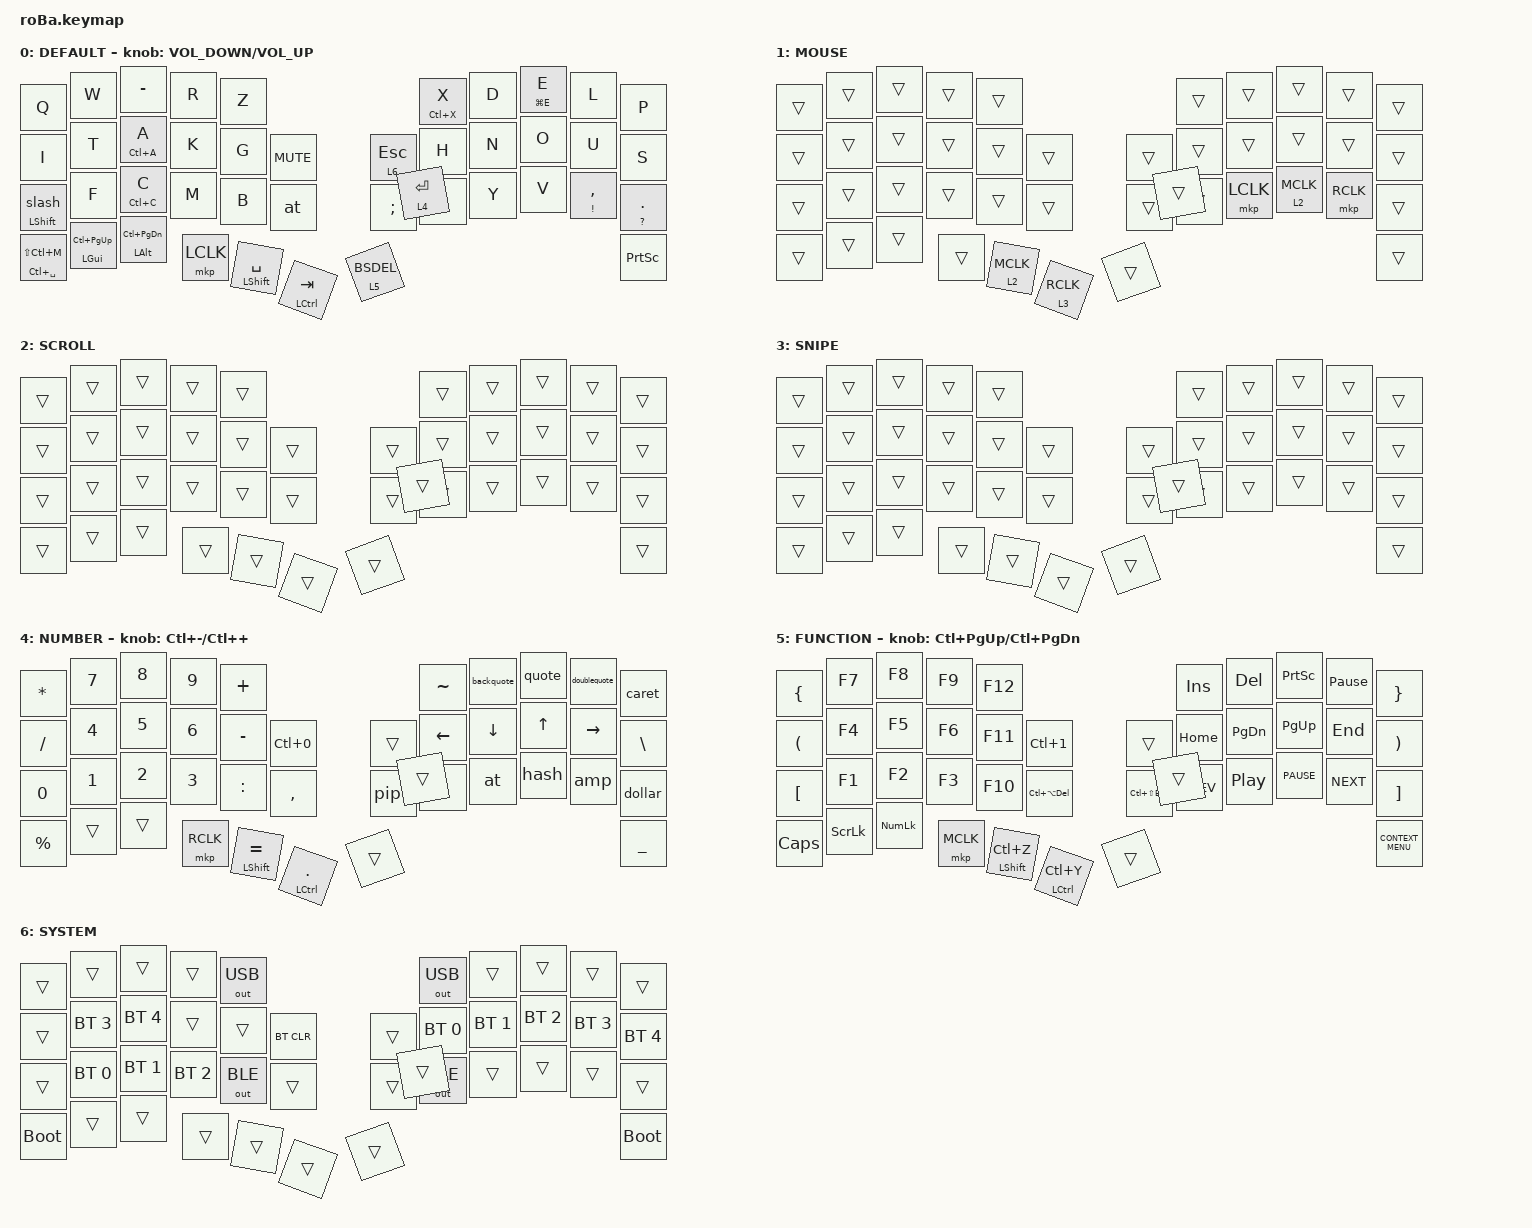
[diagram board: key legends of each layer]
#include <behaviors.dtsi>
#include <dt-bindings/zmk/bt.h>
#include <dt-bindings/zmk/keys.h>
#include <dt-bindings/zmk/outputs.h>
#include <dt-bindings/zmk/pointing.h>

&mt {
    quick-tap-ms = <175>;
    flavor = "tap-preferred";
};

/ {
    combos {
        compatible = "zmk,combos";

        IME_ON {
            bindings = <&imeonoff LA(GRAVE) LANGUAGE_1>;
            key-positions = <19 20>;
            layers = <0 1>;
        };

        win_mv_right {
            bindings = <&winmvright>;
            key-positions = <8 9>;
            slow-release;
            layers = <0 1>;
        };

        win_mv_left {
            bindings = <&winmvleft>;
            key-positions = <0 1>;
            slow-release;
            layers = <0 1>;
        };

        brackets {
            bindings = <&brack 0 0>;
            key-positions = <22 33>;
            layers = <0 1>;
        };

        parenthesis {
            bindings = <&paren 0 0>;
            key-positions = <10 21>;
            layers = <0 1>;
        };

        find {
            bindings = <&kp LC(F)>;
            key-positions = <22 23>;
            layers = <0 1>;
        };

        paste {
            bindings = <&holdtap LG(V) LC(V)>;
            key-positions = <18 19>;
            layers = <0 1>;
        };

        dblsft {
            bindings = <&DBLSFT>;
            key-positions = <12 13>;
            layers = <0 1>;
        };

        IME_OFF {
            bindings = <&kp LANGUAGE_2>;
            key-positions = <11 12>;
            layers = <0 1>;
        };

        braces {
            bindings = <&brace 0 0>;
            key-positions = <0 9>;
            layers = <0 1>;
        };

        undo {
            bindings = <&kp LC(Z)>;
            key-positions = <23 24>;
            layers = <0 1>;
        };

        redo {
            bindings = <&kp LC(Y)>;
            key-positions = <31 32>;
            layers = <0 1>;
        };

        taskview {
            bindings = <&kp LG(TAB)>;
            key-positions = <18 19>;
            layers = <4>;
        };

        close {
            bindings = <&holdtap LA(F4) LC(W)>;
            key-positions = <32 33>;
            layers = <0 1>;
        };

        left_paren {
            bindings = <&kp LEFT_PARENTHESIS>;
            key-positions = <10 11>;
            layers = <0 1>;
        };

        right_paren {
            bindings = <&kp RIGHT_PARENTHESIS>;
            key-positions = <21 20>;
            layers = <0 1>;
        };
    };

    macros {
        DBLSFT: DBLSFT {
            compatible = "zmk,behavior-macro";
            #binding-cells = <0>;
            bindings = <&kp LEFT_SHIFT &kp LEFT_SHIFT>;
        };

        DBLCTL: DBLCTL {
            compatible = "zmk,behavior-macro";
            #binding-cells = <0>;
            bindings = <&kp LCTRL &kp LCTRL>;
        };

        winmvright: winmvright {
            compatible = "zmk,behavior-macro";
            #binding-cells = <0>;
            bindings =
                <&macro_press>,
                <&kp LEFT_GUI &kp RIGHT>,
                <&macro_release>,
                <&kp RIGHT &kp LEFT_WIN>;
        };

        winmvleft: winmvleft {
            compatible = "zmk,behavior-macro";
            #binding-cells = <0>;
            bindings =
                <&macro_press>,
                <&kp LEFT_GUI &kp LEFT>,
                <&macro_release>,
                <&kp LEFT &kp LEFT_WIN>;
        };

        at: at {
            compatible = "zmk,behavior-macro";
            #binding-cells = <0>;
            bindings = <&kp LANGUAGE_2 &kp AT_SIGN>;
        };

        hash: hash {
            compatible = "zmk,behavior-macro";
            #binding-cells = <0>;
            bindings = <&kp LANGUAGE_2 &kp HASH>;
        };

        amp: amp {
            compatible = "zmk,behavior-macro";
            #binding-cells = <0>;
            bindings = <&kp LANGUAGE_2 &kp AMPERSAND>;
        };

        dollar: doller {
            compatible = "zmk,behavior-macro";
            #binding-cells = <0>;
            bindings = <&kp LANGUAGE_2 &kp DOLLAR>;
        };

        backquote: backquote {
            compatible = "zmk,behavior-macro";
            #binding-cells = <0>;
            bindings = <&kp LANGUAGE_2 &kp GRAVE>;
        };

        quote: quote {
            compatible = "zmk,behavior-macro";
            #binding-cells = <0>;
            bindings = <&kp LANGUAGE_2 &kp SINGLE_QUOTE>;
        };

        doublequote: doublequote {
            compatible = "zmk,behavior-macro";
            #binding-cells = <0>;
            bindings = <&kp LANGUAGE_2 &kp DOUBLE_QUOTES>;
        };

        caret: caret {
            compatible = "zmk,behavior-macro";
            #binding-cells = <0>;
            bindings = <&kp LANGUAGE_2 &kp CARET>;
        };

        pipe: pipe {
            compatible = "zmk,behavior-macro";
            #binding-cells = <0>;
            bindings = <&kp LANGUAGE_2 &kp PIPE>;
        };

        parenthesis: parenthesis {
            compatible = "zmk,behavior-macro";
            #binding-cells = <0>;
            bindings = <&kp LANGUAGE_2 &kp LEFT_PARENTHESIS &kp RIGHT_PARENTHESIS &kp LEFT_ARROW>;
        };

        brackets: brackets {
            compatible = "zmk,behavior-macro";
            #binding-cells = <0>;
            bindings = <&kp LANGUAGE_2 &kp LEFT_BRACKET &kp RIGHT_BRACKET &kp LEFT>;
        };

        braces: braces {
            compatible = "zmk,behavior-macro";
            #binding-cells = <0>;
            bindings = <&kp LANGUAGE_2 &kp LEFT_BRACE &kp RIGHT_BRACE &kp LEFT>;
        };

        zen_parenthesis: zen_parenthesis {
            compatible = "zmk,behavior-macro";
            #binding-cells = <0>;
            bindings = <&kp LANGUAGE_1 &kp LEFT_PARENTHESIS &kp RIGHT_PARENTHESIS &kp LEFT_ARROW>;
        };

        zen_brackets: zen_brackets {
            compatible = "zmk,behavior-macro";
            #binding-cells = <0>;
            bindings = <&kp LANGUAGE_1 &kp LEFT_BRACKET &kp RIGHT_BRACKET &kp LEFT>;
        };

        zen_braces: zen_braces {
            compatible = "zmk,behavior-macro";
            #binding-cells = <0>;
            bindings = <&kp LANGUAGE_1 &kp LEFT_BRACE &kp RIGHT_BRACE &kp LEFT>;
        };

        right_arrow: right_arrow {
            compatible = "zmk,behavior-macro";
            #binding-cells = <0>;
            bindings =
                <&kp LANGUAGE_2 &kp KP_NUMLOCK>,
                <&macro_press>,
                <&kp LEFT_ALT>,
                <&macro_tap>,
                <&kp KP_PLUS &kp KP_NUMBER_2 &kp KP_NUMBER_1 &kp KP_NUMBER_9 &kp KP_NUMBER_2>,
                <&macro_release>,
                <&kp LEFT_ALT>,
                <&macro_tap>,
                <&kp KP_NUMLOCK>;
        };

        left_arrow: left_arrow {
            compatible = "zmk,behavior-macro";
            #binding-cells = <0>;
            bindings =
                <&kp LANGUAGE_2 &kp KP_NUMLOCK>,
                <&macro_release>,
                <&kp LEFT_SHIFT>,
                <&macro_press>,
                <&kp LEFT_ALT>,
                <&macro_tap>,
                <&kp KP_PLUS &kp KP_NUMBER_2 &kp KP_NUMBER_1 &kp KP_NUMBER_9 &kp KP_NUMBER_0>,
                <&macro_release>,
                <&kp LEFT_ALT>,
                <&macro_tap>,
                <&kp KP_NUMLOCK>;
        };

        up_arrow: up_arrow {
            compatible = "zmk,behavior-macro";
            #binding-cells = <0>;
            bindings =
                <&kp LANGUAGE_2 &kp KP_NUMLOCK>,
                <&macro_press>,
                <&kp LEFT_ALT>,
                <&macro_tap>,
                <&kp KP_PLUS &kp KP_NUMBER_2 &kp KP_NUMBER_1 &kp KP_NUMBER_9 &kp KP_NUMBER_1>,
                <&macro_release>,
                <&kp LEFT_ALT>,
                <&macro_tap>,
                <&kp KP_NUM>;
        };

        down_arrow: down_arrow {
            compatible = "zmk,behavior-macro";
            #binding-cells = <0>;
            bindings =
                <&kp LANGUAGE_2 &kp KP_NUMLOCK>,
                <&macro_press>,
                <&kp LEFT_ALT>,
                <&macro_tap>,
                <&kp KP_PLUS &kp KP_NUMBER_2 &kp KP_NUMBER_1 &kp KP_NUMBER_9 &kp KP_NUMBER_3>,
                <&macro_release>,
                <&kp LEFT_ALT>,
                <&macro_tap>,
                <&kp KP_NUMLOCK>;
        };
    };

    behaviors {
        BSDEL: BSDEL {
            compatible = "zmk,behavior-mod-morph";
            bindings = <&kp BSPC>, <&kp DELETE>;

            #binding-cells = <0>;
            mods = <(MOD_LSFT|MOD_RSFT)>;
        };

        lt_bsdel: lt_bsdel {
            compatible = "zmk,behavior-hold-tap";
            bindings = <&mo>, <&BSDEL>;

            #binding-cells = <2>;
            tapping-term-ms = <200>;
            quick-tap-ms = <300>;
            flavor = "tap-preferred";
        };

        imeonoff: imeonoff {
            compatible = "zmk,behavior-hold-tap";
            bindings = <&kp>, <&kp>;

            #binding-cells = <2>;
            tapping-term-ms = <200>;
            flavor = "tap-preferred";
        };

        holdtap: holdtap {
            compatible = "zmk,behavior-hold-tap";
            bindings = <&kp>, <&kp>;

            #binding-cells = <2>;
            tapping-term-ms = <300>;
            flavor = "tap-preferred";
            quick-tap-ms = <250>;
            require-prior-idle-ms = <150>;
            hold-trigger-on-release;
        };

        paren: paren {
            compatible = "zmk,behavior-hold-tap";
            bindings = <&zen_parenthesis>, <&parenthesis>;

            #binding-cells = <2>;
            flavor = "tap-preferred";
            tapping-term-ms = <200>;
        };

        brack: brack {
            compatible = "zmk,behavior-hold-tap";
            bindings = <&zen_brackets>, <&brackets>;

            #binding-cells = <2>;
            tapping-term-ms = <200>;
            flavor = "tap-preferred";
        };

        brace: brace {
            compatible = "zmk,behavior-hold-tap";
            bindings = <&zen_braces>, <&braces>;

            #binding-cells = <2>;
            tapping-term-ms = <200>;
            flavor = "tap-preferred";
        };

        arrows: arrows {
            compatible = "zmk,behavior-hold-tap";
            bindings = <&down_up_arrow>, <&right_left_arrow>;

            #binding-cells = <2>;
            flavor = "tap-preferred";
            tapping-term-ms = <200>;
        };

        right_left_arrow: right_left_arrow {
            compatible = "zmk,behavior-mod-morph";
            bindings = <&right_arrow>, <&left_arrow>;

            #binding-cells = <0>;
            mods = <(MOD_LSFT|MOD_RSFT)>;
        };

        down_up_arrow: down_up_arrow {
            compatible = "zmk,behavior-mod-morph";
            bindings = <&down_arrow>, <&up_arrow>;

            #binding-cells = <0>;
            mods = <(MOD_LSFT|MOD_RSFT)>;
        };

        mkp_layer: mkp_layer {
            compatible = "zmk,behavior-hold-tap";
            bindings = <&mo>, <&mkp>;

            #binding-cells = <2>;
            tapping-term-ms = <200>;
        };

        slash: slash {
            compatible = "zmk,behavior-mod-morph";
            bindings = <&kp SLASH>, <&kp BACKSLASH>;

            #binding-cells = <0>;
            mods = <(MOD_LSFT|MOD_RSFT)>;
        };

        mt_slash: mt_slash {
            compatible = "zmk,behavior-hold-tap";
            bindings = <&kp>, <&slash>;

            #binding-cells = <2>;
            tapping-term-ms = <300>;
            quick-tap-ms = <250>;
            require-prior-idle-ms = <150>;
            flavor = "tap-preferred";
            hold-trigger-on-release;
        };
    };

    keymap {
        compatible = "zmk,keymap";

        DEFAULT {
            bindings = <
&kp Q                         &kp W                          &kp MINUS                        &kp R      &kp Z                                               &holdtap LC(X) X  &kp D  &holdtap LG(E) E  &kp L                       &kp P
&kp I                         &kp T                          &holdtap LC(A) A                 &kp K      &kp G             &kp C_MUTE         &lt 6 ESC      &kp H             &kp N  &kp O             &kp U                       &kp S
&mt_slash LEFT_SHIFT 0        &kp F                          &holdtap LC(C) C                 &kp M      &kp B             &at                &kp SEMICOLON  &kp J             &kp Y  &kp V             &holdtap EXCLAMATION COMMA  &holdtap QUESTION PERIOD
&holdtap LC(SPACE) LS(LC(M))  &holdtap LEFT_GUI LC(PAGE_UP)  &holdtap LEFT_ALT LC(PAGE_DOWN)  &mkp LCLK  &mt LSHIFT SPACE  &mt LCTRL TAB      &lt_bsdel 5 0  &lt 4 ENTER                                                            &kp PRINTSCREEN
            >;

            sensor-bindings = <&inc_dec_kp C_VOLUME_DOWN C_VOLUME_UP>;
        };

        MOUSE {
            bindings = <
&trans  &trans  &trans  &trans  &trans                                            &trans  &trans     &trans             &trans     &trans
&trans  &trans  &trans  &trans  &trans             &trans                 &trans  &trans  &trans     &trans             &trans     &trans
&trans  &trans  &trans  &trans  &trans             &trans                 &trans  &trans  &mkp LCLK  &mkp_layer 2 MCLK  &mkp RCLK  &trans
&trans  &trans  &trans  &trans  &mkp_layer 2 MCLK  &mkp_layer 3 RCLK      &trans  &trans                                           &trans
            >;
        };

        SCROLL {
            bindings = <
&trans  &trans  &trans  &trans  &trans                      &trans  &trans  &trans  &trans  &trans
&trans  &trans  &trans  &trans  &trans  &trans      &trans  &trans  &trans  &trans  &trans  &trans
&trans  &trans  &trans  &trans  &trans  &trans      &trans  &trans  &trans  &trans  &trans  &trans
&trans  &trans  &trans  &trans  &trans  &trans      &trans  &trans                          &trans
            >;
        };

        SNIPE {
            bindings = <
&trans  &trans  &trans  &trans  &trans                      &trans  &trans  &trans  &trans  &trans
&trans  &trans  &trans  &trans  &trans  &trans      &trans  &trans  &trans  &trans  &trans  &trans
&trans  &trans  &trans  &trans  &trans  &trans      &trans  &trans  &trans  &trans  &trans  &trans
&trans  &trans  &trans  &trans  &trans  &trans      &trans  &trans                          &trans
            >;
        };

        NUMBER {
            bindings = <
&kp ASTERISK  &kp NUMBER_7  &kp NUMBER_8  &kp NUMBER_9  &kp PLUS                                            &kp TILDE        &backquote  &quote        &doublequote  &caret
&kp SLASH     &kp NUMBER_4  &kp NUMBER_5  &kp NUMBER_6  &kp MINUS             &kp LC(NUMBER_0)      &trans  &kp LEFT         &kp DOWN    &kp UP_ARROW  &kp RIGHT     &kp BACKSLASH
&kp NUMBER_0  &kp NUMBER_1  &kp NUMBER_2  &kp NUMBER_3  &kp COLON             &kp COMMA             &pipe   &kp EXCLAMATION  &at         &hash         &amp          &dollar
&kp PERCENT   &trans        &trans        &mkp RCLK     &mt LEFT_SHIFT EQUAL  &mt LCTRL PERIOD      &trans  &trans                                                   &kp UNDER
            >;

            sensor-bindings = <&inc_dec_kp LC(MINUS) LC(PLUS)>;
        };

        FUNCTION {
            bindings = <
&kp LEFT_BRACE        &kp F7          &kp F8          &kp F9     &kp F12                                                       &kp INSERT  &kp DELETE        &kp PRINTSCREEN  &kp PAUSE_BREAK  &kp RIGHT_BRACE
&kp LEFT_PARENTHESIS  &kp F4          &kp F5          &kp F6     &kp F11           &kp LC(NUMBER_1)        &trans              &kp HOME    &kp PAGE_DOWN     &kp PAGE_UP      &kp END          &kp RIGHT_PARENTHESIS
&kp LEFT_BRACKET      &kp F1          &kp F2          &kp F3     &kp F10           &kp LC(LA(DELETE))      &kp LC(LS(ESCAPE))  &kp C_PREV  &kp C_PLAY_PAUSE  &kp C_PAUSE      &kp C_NEXT       &kp RIGHT_BRACKET
&kp CAPSLOCK          &kp SCROLLLOCK  &kp KP_NUMLOCK  &mkp MCLK  &mt LSHIFT LC(Z)  &mt LCTRL LC(Y)         &trans              &trans                                                          &kp K_CONTEXT_MENU
            >;

            sensor-bindings = <&inc_dec_kp LC(PAGE_UP) LC(PAGE_DOWN)>;
        };

        SYSTEM {
            bindings = <
&trans       &trans        &trans        &trans        &out OUT_USB                          &out OUT_USB  &trans        &trans        &trans        &trans
&trans       &bt BT_SEL 3  &bt BT_SEL 4  &trans        &trans        &bt BT_CLR      &trans  &bt BT_SEL 0  &bt BT_SEL 1  &bt BT_SEL 2  &bt BT_SEL 3  &bt BT_SEL 4
&trans       &bt BT_SEL 0  &bt BT_SEL 1  &bt BT_SEL 2  &out OUT_BLE  &trans          &trans  &out OUT_BLE  &trans        &trans        &trans        &trans
&bootloader  &trans        &trans        &trans        &trans        &trans          &trans  &trans                                                  &bootloader
            >;
        };
    };
};
